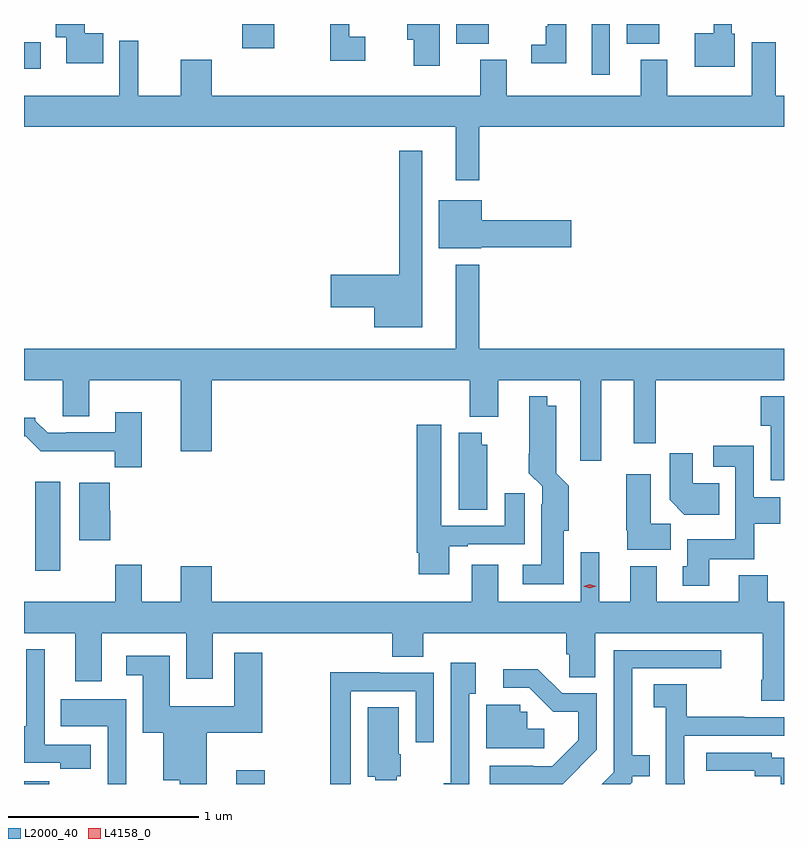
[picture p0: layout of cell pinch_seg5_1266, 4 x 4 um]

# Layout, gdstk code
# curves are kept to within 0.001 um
import gdstk
lib = gdstk.Library(unit=1e-6, precision=1e-09)
def R(c, l, rs):  # rectangles x0, y0, x1, y1
    for r in rs: c.add(gdstk.rectangle(r[:2], r[2:], *l))
def P(c, l, *ps):  # polygons
    for p in ps: c.add(gdstk.Polygon(p, *l))
L2000_40 = (2000, 40)
L4158_0 = (4158, 0)

pinch_seg5_1266 = lib.new_cell('pinch_seg5_1266')
R(pinch_seg5_1266, L2000_40, [(415.932,853.302,416.064,853.317), (417.05,853.302,417.198,853.375), (415.991,854.424,416.122,854.893), (418.919,857.034,419.016,857.302), (415.932,857.066,416.02,857.206), (417.08,857.175,417.25,857.302), (418.208,857.198,418.378,857.302), (419.105,857.198,419.275,857.302)])
P(pinch_seg5_1266, L2000_40, [(417.728,857.236),(417.645,857.236),(417.645,857.302),(417.544,857.302),(417.544,857.108),(417.728,857.108)],
  [(418.12,857.302),(417.95,857.302),(417.95,857.218),(417.983,857.218),(417.983,857.082),(418.12,857.082)],
  [(418.786,857.302),(418.689,857.302),(418.689,857.29),(418.677,857.29),(418.677,857.193),(418.602,857.193),(418.602,857.096),(418.786,857.096)],
  [(416.348,857.254),(416.251,857.254),(416.251,857.302),(416.099,857.302),(416.099,857.231),(416.154,857.231),(416.154,857.096),(416.348,857.096)],
  [(419.674,857.25),(419.658,857.25),(419.658,857.302),(419.562,857.302),(419.562,857.254),(419.462,857.254),(419.462,857.078),(419.674,857.078)],
  [(418.327,856.76),(419.932,856.76),(419.932,856.924),(419.888,856.924),(419.888,857.206),(419.762,857.206),(419.762,856.924),(419.317,856.924),(419.317,857.113),(419.177,857.113),(419.177,856.924),(418.474,856.924),(418.474,857.113),(418.334,857.113),(418.334,856.924),(416.92,856.924),(416.92,857.113),(416.756,857.113),(416.756,856.924),(416.532,856.924),(416.532,857.215),(416.433,857.215),(416.433,856.924),(415.932,856.924),(415.932,856.76),(418.205,856.76),(418.205,856.479),(418.327,856.479)],
  [(418.027,856.636),(417.906,856.636),(417.906,855.983),(417.546,855.983),(417.546,855.812),(417.776,855.812),(417.776,855.707),(418.027,855.707)],
  [(418.338,856.127),(418.813,856.127),(418.813,856.269),(418.342,856.269),(418.342,856.375),(418.115,856.375),(418.115,856.121),(418.338,856.121)],
  [(418.969,855.428),(419.141,855.428),(419.141,855.096),(419.258,855.096),(419.258,855.428),(419.932,855.428),(419.932,855.592),(418.327,855.592),(418.327,856.036),(418.205,856.036),(418.205,855.592),(415.932,855.592),(415.932,855.428),(416.135,855.428),(416.135,855.238),(416.275,855.238),(416.275,855.428),(416.756,855.428),(416.756,855.054),(416.92,855.054),(416.92,855.428),(418.277,855.428),(418.277,855.236),(418.429,855.236),(418.429,855.428),(418.859,855.428),(418.859,855.003),(418.969,855.003)],
  [(418.774,854.634),(418.8,854.634),(418.8,854.871),(418.733,854.938),(418.732,855.292),(418.687,855.292),(418.687,855.343),(418.59,855.343),(418.589,854.938),(418.659,854.868),(418.659,854.774),(418.655,854.774),(418.655,854.455),(418.557,854.455),(418.557,854.354),(418.774,854.354)],
  [(419.932,855.343),(419.81,855.343),(419.81,855.187),(419.861,855.187),(419.861,854.9),(419.932,854.9)],
  [(416.551,855.259),(416.411,855.259),(416.411,855.153),(416.155,855.153),(416.155,855.15),(416.056,855.15),(415.992,855.214),(415.992,855.229),(415.932,855.229),(415.932,855.132),(415.941,855.132),(416.02,855.054),(416.409,855.054),(416.409,854.969),(416.551,854.969)],
  [(418.171,854.553),(418.267,854.553),(418.267,854.565),(418.567,854.565),(418.567,854.833),(418.463,854.833),(418.463,854.661),(418.129,854.661),(418.129,855.193),(417.998,855.193),(417.998,854.518),(418.01,854.518),(418.01,854.406),(418.171,854.406)],
  [(418.369,855.087),(418.342,855.087),(418.342,855.151),(418.22,855.151),(418.22,854.746),(418.369,854.746)],
  [(419.539,854.486),(419.775,854.486),(419.775,854.672),(419.911,854.672),(419.911,854.812),(419.772,854.812),(419.772,855.082),(419.559,855.082),(419.559,854.973),(419.676,854.973),(419.676,854.59),(419.423,854.59),(419.423,854.448),(419.399,854.448),(419.399,854.346),(419.539,854.346)],
  [(419.591,854.884),(419.452,854.884),(419.452,855.043),(419.33,855.043),(419.33,854.798),(419.408,854.72),(419.591,854.72)],
  [(419.335,854.672),(419.23,854.672),(419.23,854.932),(419.101,854.932),(419.101,854.638),(419.108,854.638),(419.108,854.534),(419.335,854.534)],
  [(416.386,854.739),(416.384,854.739),(416.384,854.887),(416.222,854.887),(416.222,854.586),(416.386,854.586)],
  [(419.932,854.26),(419.846,854.26),(419.846,854.401),(419.693,854.401),(419.693,854.26),(419.263,854.26),(419.263,854.449),(419.123,854.449),(419.123,854.26),(418.96,854.26),(418.96,854.521),(418.863,854.521),(418.863,854.26),(418.429,854.26),(418.429,854.455),(418.289,854.455),(418.289,854.26),(416.92,854.26),(416.92,854.449),(416.756,854.449),(416.756,854.26),(416.551,854.26),(416.551,854.455),(416.411,854.455),(416.411,854.26),(415.932,854.26),(415.932,854.096),(416.201,854.096),(416.201,853.842),(416.341,853.842),(416.341,854.096),(416.786,854.096),(416.786,853.857),(416.926,853.857),(416.926,854.096),(417.869,854.096),(417.869,853.972),(418.034,853.972),(418.034,854.096),(418.787,854.096),(418.787,853.986),(418.801,853.986),(418.801,853.864),(418.939,853.864),(418.939,854.096),(419.819,854.096),(419.819,853.852),(419.812,853.852),(419.812,853.74),(419.932,853.74)],
  [(416.284,853.509),(416.04,853.509),(416.04,854.011),(415.944,854.011),(415.944,853.606),(415.932,853.606),(415.932,853.413),(416.123,853.413),(416.123,853.382),(416.284,853.382)],
  [(419.133,853.311),(419.133,853.343),(419.225,853.343),(419.225,853.453),(419.134,853.453),(419.134,853.911),(419.602,853.911),(419.602,854.007),(419.037,854.007),(419.037,853.365),(418.974,853.302),(419.124,853.302)],
  [(416.893,853.571),(417.186,853.571),(417.186,853.993),(417.038,853.993),(417.038,853.711),(416.698,853.711),(416.698,853.978),(416.469,853.978),(416.469,853.874),(416.558,853.874),(416.558,853.571),(416.666,853.571),(416.666,853.322),(416.753,853.322),(416.753,853.302),(416.893,853.302)],
  [(418.275,853.778),(418.309,853.778),(418.309,853.939),(418.179,853.939),(418.179,853.306),(418.142,853.306),(418.142,853.302),(418.275,853.302)],
  [(418.947,853.481),(418.947,853.779),(418.764,853.779),(418.636,853.907),(418.455,853.907),(418.455,853.809),(418.59,853.809),(418.717,853.682),(418.85,853.682),(418.85,853.532),(418.713,853.395),(418.613,853.395),(418.613,853.398),(418.383,853.398),(418.383,853.302),(418.768,853.302)],
  [(417.651,853.791),(417.993,853.791),(417.993,853.521),(418.089,853.521),(418.089,853.887),(417.805,853.887),(417.805,853.891),(417.543,853.891),(417.543,853.302),(417.651,853.302)],
  [(419.409,853.325),(419.406,853.325),(419.406,853.557),(419.932,853.557),(419.932,853.653),(419.723,853.653),(419.723,853.656),(419.419,853.656),(419.419,853.826),(419.247,853.826),(419.247,853.705),(419.31,853.705),(419.31,853.302),(419.409,853.302)],
  [(416.471,853.747),(416.125,853.747),(416.125,853.607),(416.373,853.607),(416.373,853.302),(416.471,853.302)],
  [(418.669,853.594),(418.581,853.594),(418.581,853.683),(418.545,853.683),(418.545,853.719),(418.364,853.719),(418.364,853.491),(418.669,853.491)],
  [(417.894,853.344),(417.916,853.344),(417.916,853.458),(417.904,853.458),(417.904,853.706),(417.74,853.706),(417.74,853.34),(417.78,853.34),(417.78,853.322),(417.894,853.322)],
  [(419.932,853.44),(419.868,853.44),(419.868,853.467),(419.523,853.467),(419.523,853.371),(419.778,853.371),(419.778,853.344),(419.915,853.344),(419.915,853.302),(419.932,853.302)])
P(pinch_seg5_1266, L4158_0, [(418.91,854.333),(418.875,854.343),(418.875,854.343),(418.875,854.343),(418.91,854.353),(418.945,854.343),(418.945,854.343),(418.945,854.343)])

lib.write_gds('pinch_seg5_1266.gds')
